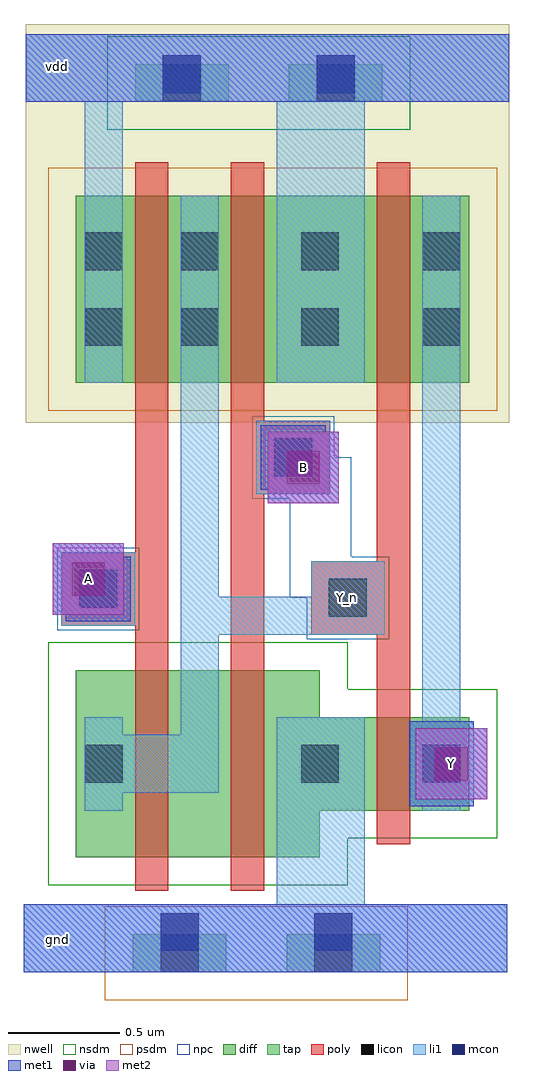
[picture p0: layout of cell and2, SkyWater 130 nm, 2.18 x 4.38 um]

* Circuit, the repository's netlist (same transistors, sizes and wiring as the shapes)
* NGSPICE file created from and2.ext - technology: sky130A

.subckt and2 A B Y gnd vdd
X0 vdd B Y_n vdd sky130_fd_pr__pfet_01v8 ad=0.212 pd=1.35 as=0.118 ps=1.12 w=0.84 l=0.15
X1 Y Y_n vdd vdd sky130_fd_pr__pfet_01v8 ad=0.223 pd=2.21 as=0.212 ps=1.35 w=0.84 l=0.15
X2 Y Y_n gnd gnd sky130_fd_pr__nfet_01v8 ad=0.111 pd=1.37 as=0.159 ps=1.35 w=0.42 l=0.15
X3 Y_n A vdd vdd sky130_fd_pr__pfet_01v8 ad=0.118 pd=1.12 as=0.223 ps=2.21 w=0.84 l=0.15
X4 gnd B a_30_n42# gnd sky130_fd_pr__nfet_01v8 ad=0.159 pd=1.35 as=0.118 ps=1.12 w=0.84 l=0.15
X5 a_30_n42# A Y_n gnd sky130_fd_pr__nfet_01v8 ad=0.118 pd=1.12 as=0.223 ps=2.21 w=0.84 l=0.15
.ends

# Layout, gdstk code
import gdstk
lib = gdstk.Library(unit=1e-6, precision=1e-09)
def R(c, l, rs):  # rectangles x0, y0, x1, y1
    for r in rs: c.add(gdstk.rectangle(r[:2], r[2:], *l))
nwell = (64, 20)
diff = (65, 20)
tap = (65, 44)
poly = (66, 20)
licon = (66, 44)
li1 = (67, 20)
mcon = (67, 44)
met1 = (68, 20)
via = (68, 44)
met2 = (69, 20)
nsdm = (93, 44)
psdm = (94, 20)
npc = (95, 20)

and2 = lib.new_cell('and2')
R(and2, nwell, [(-0.49,1.74,1.68,3.53)])
R(and2, diff, [(-0.265,-0.21,0.83,0), (-0.265,0,1.5,0.42), (-0.265,0.42,0.83,0.63), (-0.265,1.92,1.5,2.76)])
R(and2, tap, [(-0.01,-0.725,0.41,-0.555), (0.68,-0.725,1.1,-0.555), (0,3.18,0.42,3.35), (0.69,3.18,1.11,3.35)])
R(and2, poly, [(0,-0.36,0.15,0.83), (0.43,-0.36,0.58,1.42), (1.085,-0.15,1.235,0.79), (0.79,0.79,1.235,1.12), (-0.33,0.83,0.15,1.16), (1.085,1.12,1.235,2.91), (0,1.16,0.15,2.91), (0.43,1.42,0.875,1.75), (0.43,1.75,0.58,2.91)])
R(and2, licon, [(0.115,-0.725,0.285,-0.555), (0.805,-0.725,0.975,-0.555), (-0.225,0.125,-0.055,0.295), (0.745,0.125,0.915,0.295), (1.29,0.125,1.46,0.295), (0.87,0.87,1.04,1.04), (-0.25,0.91,-0.08,1.08), (0.625,1.5,0.795,1.67), (-0.225,2.085,-0.055,2.255), (0.205,2.085,0.375,2.255), (0.745,2.085,0.915,2.255), (1.29,2.085,1.46,2.255), (-0.225,2.425,-0.055,2.595), (0.205,2.425,0.375,2.595), (0.745,2.425,0.915,2.595), (1.29,2.425,1.46,2.595), (0.125,3.18,0.295,3.35), (0.815,3.18,0.985,3.35)])
R(and2, li1, [(-0.5,-0.725,1.67,-0.42), (0.635,-0.42,1.03,0.42), (-0.225,0,-0.055,0.08), (1.29,0,1.46,0.02), (1.23,0.02,1.52,0.4), (-0.225,0.08,0.375,0.34), (-0.225,0.34,-0.055,0.42), (0.205,0.34,0.375,0.79), (1.29,0.4,1.46,2.76), (0.205,0.79,1.12,0.96), (-0.33,0.83,0,1.16), (0.205,0.96,0.375,2.76), (0.79,0.96,1.12,1.12), (0.545,1.42,0.875,1.75), (-0.225,1.92,-0.055,3.18), (0.635,1.92,1.03,3.18), (-0.49,3.18,1.68,3.485)])
R(and2, mcon, [(0.115,-0.63,0.285,-0.46), (0.805,-0.63,0.975,-0.46), (1.29,0.125,1.46,0.295), (-0.25,0.91,-0.08,1.08), (0.625,1.5,0.795,1.67), (0.125,3.22,0.295,3.39), (0.815,3.22,0.985,3.39)])
R(and2, met1, [(-0.5,-0.725,1.67,-0.42), (1.23,0.02,1.52,0.05), (1.23,0.05,1.58,0.37), (1.23,0.37,1.52,0.4), (-0.31,0.85,-0.02,0.88), (-0.37,0.88,-0.02,1.14), (-0.37,1.14,-0.05,1.2), (0.595,1.38,0.915,1.44), (0.565,1.44,0.915,1.7), (0.565,1.7,0.855,1.73), (-0.49,3.18,1.68,3.485)])
R(and2, via, [(1.345,0.135,1.495,0.285), (-0.285,0.965,-0.135,1.115), (0.68,1.465,0.83,1.615)])
R(and2, met2, [(1.26,0.05,1.58,0.37), (-0.37,0.88,-0.05,1.2), (0.595,1.38,0.915,1.7)])
R(and2, nsdm, [(-0.39,-0.335,0.955,-0.125), (-0.39,-0.125,1.625,0.545), (-0.39,0.545,0.955,0.755), (-0.125,3.055,1.235,3.475)])
R(and2, psdm, [(-0.135,-0.85,1.225,-0.43), (-0.39,1.795,1.625,2.885)])
R(and2, npc, [(0.77,0.77,1.14,0.955), (-0.35,0.81,0.02,1.18), (0.695,0.955,1.14,1.14), (0.695,1.14,0.97,1.4), (0.525,1.4,0.97,1.585), (0.525,1.585,0.895,1.77)])
and2.add(gdstk.Label('Y_n', (0.955,0.955), layer=67, texttype=5))
and2.add(gdstk.Label('A', (-0.21,1.04), layer=69, texttype=5))
and2.add(gdstk.Label('B', (0.755,1.54), layer=69, texttype=5))
and2.add(gdstk.Label('Y', (1.42,0.21), layer=69, texttype=5))
and2.add(gdstk.Label('gnd', (-0.35,-0.58), layer=68, texttype=5))
and2.add(gdstk.Label('vdd', (-0.35,3.34), layer=68, texttype=5))

lib.write_gds('and2.gds')
